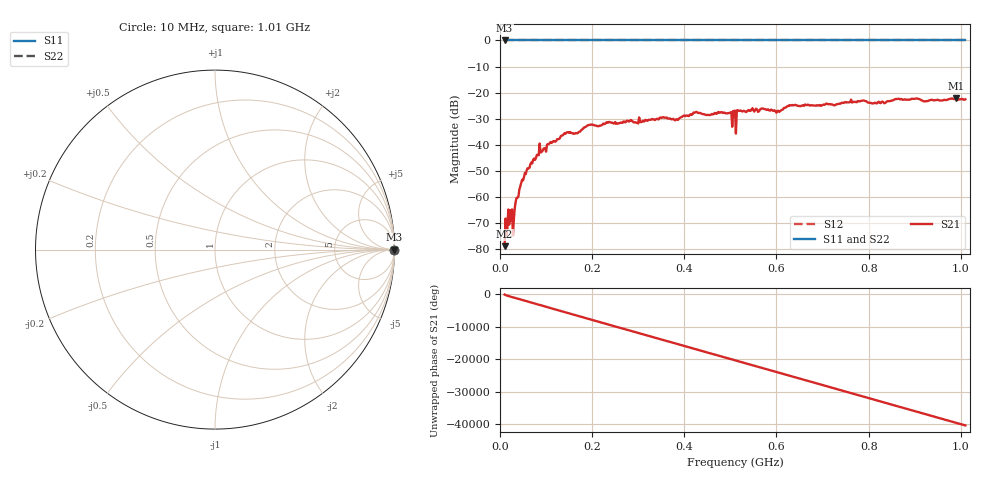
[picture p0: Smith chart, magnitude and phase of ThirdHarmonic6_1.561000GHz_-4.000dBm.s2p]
! 8/16/2025 6:32:34 PM
! C:\ANRITSUVNA\TEMP\TEMP.S2P
! CHANNEL.1
! TR.MEASUREMENT
! RAW.DATA
! RF.CORRECTION.OFF
! AVERAGING.OFF
! IF.BANDWIDTH: 5KHZ
! SWEEPTYPE:  FREQ.SWEEP(Linear)
! Reference Plane Port Info
! PORT:  PORT1  PORT2
! DISTANCE:  0  m  0  m
! TIME:  0  s  0  s
! PHASE.OFFSET:  0  deg.  0  deg.
! LOSS:  0  dB  0  dB
! REF.LOSS:  0  dB  0  dB
! REF.FREQ:  0  Hz  0  Hz
! Power Info
! POWER:  -20  dBm  -20  dBm
! EFF.POWER:  -20  dBm  -20  dBm
! SOURCE.ATTEN:  0  dB  0  dB
! TEST.ATTEN:  0  dB  0  dB
# GHZ S RI R 50.0
! FREQ.GHZ  S11RE  S11IM  S21RE  S21IM  S12RE  S12IM  S22RE  S22IM
!; PortSelection: Port_12
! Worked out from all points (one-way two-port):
!   501 points, 10 MHz to 1.01 GHz, reference 50 ohm
!   highest |S21| = -22.26 dB at 990 MHz (marker M1); lowest = -79.0 dB at 10 MHz (marker M2)
!   lowest |S11| = 0.0 dB at 10 MHz (marker M3)
!   |S11| at or under -10 dB: nowhere
!   |S22| runs from 0.0 to 0.0 dB; largest |S21 - S12| = 1.1
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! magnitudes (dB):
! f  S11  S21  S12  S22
! 10 MHz  0.0  -79.0  0.0  0.0
! 22 MHz  0.0  -65.1  0.0  0.0
! 24 MHz  0.0  -69.0  0.0  0.0
! 32 MHz  0.0  -64.4  0.0  0.0
! 36 MHz  0.0  -60.4  0.0  0.0
! 50 MHz  0.0  -53.7  0.0  0.0
! 82 MHz  0.0  -43.9  0.0  0.0
! 142 MHz  0.0  -35.8  0.0  0.0
! 178 MHz  0.0  -34.2  0.0  0.0
! 196 MHz  0.0  -32.4  0.0  0.0
! 344 MHz  0.0  -30.3  0.0  0.0
! 384 MHz  0.0  -30.2  0.0  0.0
! 424 MHz  0.0  -27.6  0.0  0.0
! 510 MHz  0.0  -26.9  0.0  0.0
! 516 MHz  0.0  -26.8  0.0  0.0
! 518 MHz  0.0  -27.0  0.0  0.0
! 604 MHz  0.0  -26.9  0.0  0.0
! 630 MHz  0.0  -25.0  0.0  0.0
! 678 MHz  0.0  -24.9  0.0  0.0
! 844 MHz  0.0  -23.3  0.0  0.0
! 990 MHz  0.0  -22.3  0.0  0.0
! 1.01 GHz  0.0  -22.6  0.0  0.0
